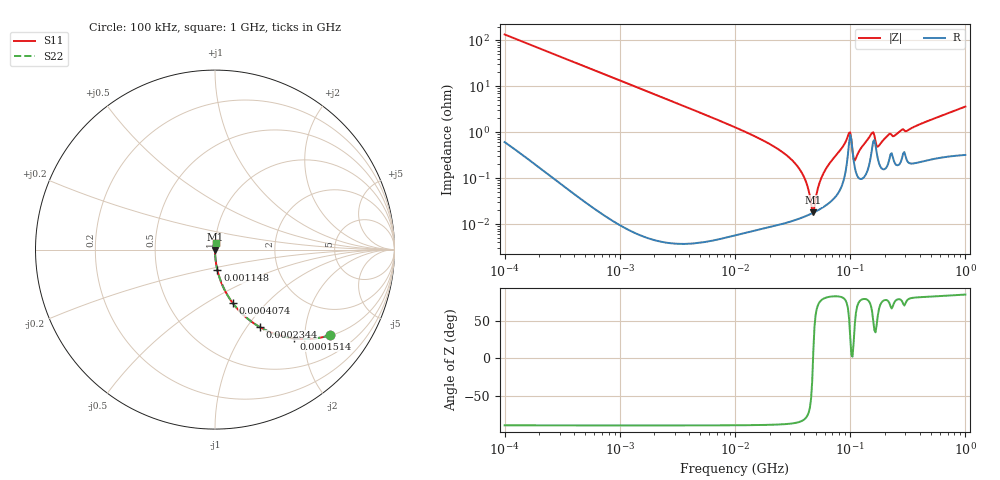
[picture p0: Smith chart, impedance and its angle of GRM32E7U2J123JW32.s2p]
!Murata Part Number: GRM32E7U2J123JW32
!These Parameters are Measured in Series Mode Connection
!Data Generated on Mar 30, 2021
!  o--ll--o
!Port1  Port2
!  o------o
!Operation Temp=25[degC], DC Bias Voltage=0[V]
!Freq. Start=100[kHz] Stop=1000[MHz] 401[Steps]
# Hz S RI R 50
!Freq.(Hz) S11(Real) S11(Imag) S21(Real) S21(Imag) S12(Real) S12(Imag) S22(Real) S22(Imag)
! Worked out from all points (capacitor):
!   401 points, 100 kHz to 1 GHz, reference 50 ohm
!   read as one part in series: C = 11.8 nF near 104.7 kHz
!   lowest |Z| = 18 mohm at 47.86 MHz (marker M1)
!   series resonance near 47.63 MHz, so ESL is about 940 pH
!   S11 on the Smith chart (normalised r, x): 100 kHz: 1.01, -2.69; 151.4 kHz: 1.01, -1.78; 234.4 kHz: 1.00, -1.15; 407.4 kHz: 1.00, -0.66; 1.148 MHz: 1.00, -0.23; 1 GHz: 1.01, +0.07
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100000  0.6426 -0.4769  0.3574 0.4769  0.3574 0.4769  0.6426 -0.4769
151356  0.4411 -0.4949  0.5589 0.4949  0.5589 0.4949  0.4411 -0.4949
234423  0.248 -0.4308  0.752 0.4308  0.752 0.4308  0.248 -0.4308
407380  0.0986 -0.2974  0.9014 0.2974  0.9014 0.2974  0.0986 -0.2974
467735  0.0766 -0.2654  0.9234 0.2654  0.9234 0.2654  0.0766 -0.2654
1148154  0.0136 -0.1155  0.9864 0.1155  0.9864 0.1155  0.0136 -0.1155
2187762  0.00379 -0.0611  0.9962 0.0611  0.9962 0.0611  0.00379 -0.0611
1e7  0.000222 -0.0128  0.9998 0.0128  0.9998 0.0128  0.000222 -0.0128
2.089296e7  0.000116 -0.00521  0.9999 0.00521  0.9999 0.00521  0.000116 -0.00521
3.162278e7  0.000124 -0.00241  0.9999 0.00241  0.9999 0.00241  0.000124 -0.00241
3.981072e7  0.000146 -0.00104  0.9999 0.00104  0.9999 0.00104  0.000146 -0.00104
4.677351e7  0.000173 -0.000106  0.9998 0.000106  0.9998 0.000106  0.000173 -0.000106
4.786301e7  0.000178 2.87e-05  0.9998 -2.87e-05  0.9998 -2.87e-05  0.000178 2.87e-05
5.888437e7  0.00024 0.00129  0.9998 -0.00129  0.9998 -0.00129  0.00024 0.00129
9.549926e7  0.0033 0.00754  0.9967 -0.00754  0.9967 -0.00754  0.0033 0.00754
1e8  0.00872 0.00474  0.9913 -0.00474  0.9913 -0.00474  0.00872 0.00474
1.071519e8  0.00243 0.000915  0.9976 -0.000915  0.9976 -0.000915  0.00243 0.000915
1.122018e8  0.00135 0.00239  0.9987 -0.00239  0.9987 -0.00239  0.00135 0.00239
1.513561e8  0.00314 0.00835  0.9969 -0.00835  0.9969 -0.00835  0.00314 0.00835
1.778279e8  0.00214 0.00467  0.9979 -0.00467  0.9979 -0.00467  0.00214 0.00467
2.187762e8  0.00267 0.00879  0.9973 -0.00879  0.9973 -0.00879  0.00267 0.00879
1e9  0.00449 0.0358  0.9955 -0.0358  0.9955 -0.0358  0.00449 0.0358
